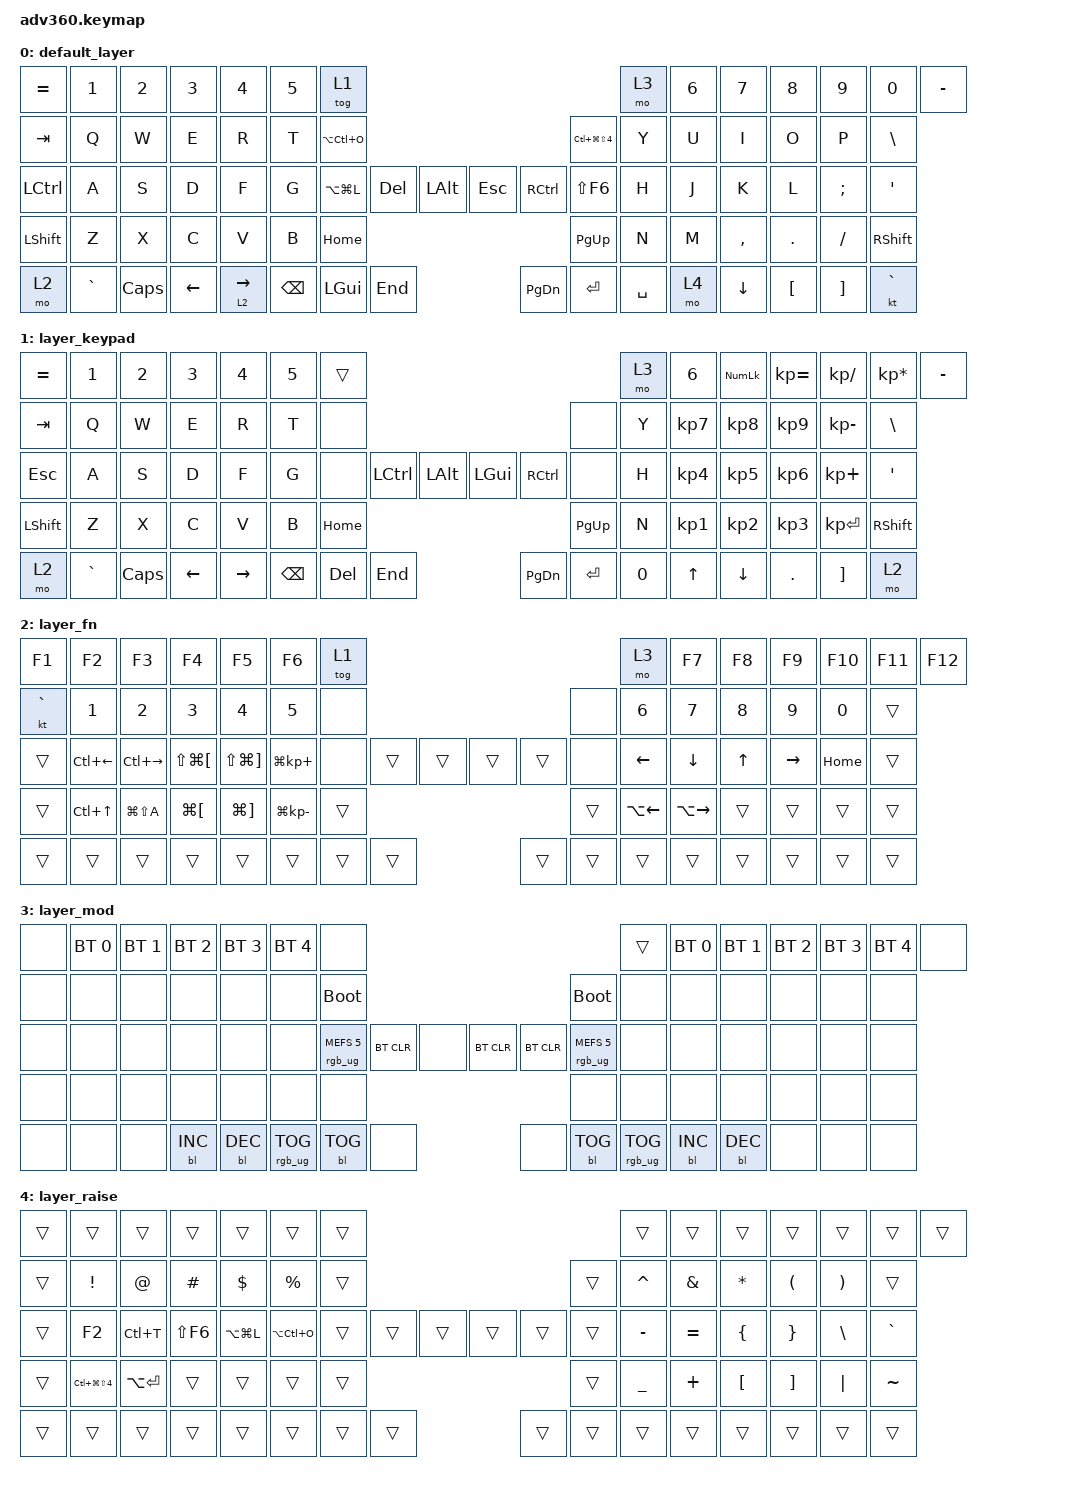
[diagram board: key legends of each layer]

/*
 * Copyright (c) 2020 The ZMK Contributors
 *
 * SPDX-License-Identifier: MIT
 */


/* THIS FILE WAS GENERATED!
 *
 * This file was generated automatically. You may or may not want to
 * edit it directly.
 */

#include <behaviors.dtsi>
#include <dt-bindings/zmk/keys.h>
#include <dt-bindings/zmk/keys.h>
#include <dt-bindings/zmk/bt.h>
#include <dt-bindings/zmk/rgb.h>
#include <dt-bindings/zmk/backlight.h>

/ {
  behaviors {
    #include "macros.dtsi"

    hm: homerow_mods {
        compatible = "zmk,behavior-hold-tap";
        label = "HOMEROW_MODS";
        #binding-cells = <2>;
        tapping-term-ms = <200>;
        quick_tap_ms = <175>;
        flavor = "tap-preferred";
        bindings = <&kp>, <&kp>;
    };
  };

    keymap {
        compatible = "zmk,keymap";


        default_layer {
            bindings = <
 &kp EQUAL     &kp N1    &kp N2    &kp N3       &kp N4  &kp N5                   &tog 1                                                                                     &mo 3  &kp N6  &kp N7     &kp N8            &kp N9             &kp N0        &kp MINUS
   &kp TAB      &kp Q     &kp W     &kp E        &kp R   &kp T            &kp LA(LC(O))                                                                        &kp LC(LG(LS(N4)))   &kp Y   &kp U      &kp I             &kp O              &kp P    &kp BACKSLASH
 &kp LCTRL      &kp A     &kp S     &kp D        &kp F   &kp G            &kp LA(LG(L))       &kp DEL  &kp LALT                    &kp ESC  &kp RIGHT_CONTROL          &kp LS(F6)   &kp H   &kp J      &kp K             &kp L      &kp SEMICOLON          &kp SQT
 &kp LSHFT      &kp Z     &kp X     &kp C        &kp V   &kp B                                         &kp HOME                  &kp PG_UP                                          &kp N   &kp M  &kp COMMA           &kp DOT          &kp SLASH  &kp RIGHT_SHIFT
     &mo 2  &kp GRAVE  &kp CAPS  &kp LEFT  &lt 2 RIGHT                         &kp BSPC  &kp LEFT_GUI   &kp END                  &kp PG_DN          &kp ENTER           &kp SPACE           &mo 4   &kp DOWN  &kp LEFT_BRACKET  &kp RIGHT_BRACKET        &kt GRAVE
            >;
        };

        layer_keypad {
            bindings = <
 &kp EQUAL     &kp N1    &kp N2          &kp N3           &kp N4  &kp N5              &trans                                                              &mo 3  &kp N6  &kp KP_NUM  &kp KP_EQUAL  &kp KP_DIVIDE    &kp KP_MULTIPLY        &kp MINUS
   &kp TAB      &kp Q     &kp W           &kp E            &kp R   &kp T               &none                                                              &none   &kp Y   &kp KP_N7     &kp KP_N8      &kp KP_N9       &kp KP_MINUS         &kp BSLH
   &kp ESC      &kp A     &kp S           &kp D            &kp F   &kp G               &none  &kp LCTRL  &kp LALT                   &kp LGUI  &kp RCTRL   &none   &kp H   &kp KP_N4     &kp KP_N5      &kp KP_N6        &kp KP_PLUS          &kp SQT
 &kp LSHFT      &kp Z     &kp X           &kp C            &kp V   &kp B                                 &kp HOME                  &kp PG_UP                      &kp N   &kp KP_N1     &kp KP_N2      &kp KP_N3       &kp KP_ENTER  &kp RIGHT_SHIFT
     &mo 2  &kp GRAVE  &kp CAPS  &kp LEFT_ARROW  &kp RIGHT_ARROW                    &kp BSPC    &kp DEL   &kp END                  &kp PG_DN  &kp ENTER  &kp N0              &kp UP      &kp DOWN        &kp DOT  &kp RIGHT_BRACKET            &mo 2
            >;
        };

        layer_fn {
            bindings = <
    &kp F1            &kp F2         &kp F3                    &kp F4                     &kp F5            &kp F6            &tog 1                                                   &mo 3        &kp F7         &kp F8  &kp F9    &kp F10   &kp F11  &kp F12
 &kt GRAVE            &kp N1         &kp N2                    &kp N3                     &kp N4            &kp N5             &none                                                   &none        &kp N6         &kp N7  &kp N8     &kp N9    &kp N0   &trans
    &trans      &kp LC(LEFT)  &kp LC(RIGHT)  &kp LS(LG(LEFT_BRACKET))  &kp LS(LG(RIGHT_BRACKET))   &kp LG(KP_PLUS)             &none  &trans  &trans                  &trans  &trans   &none      &kp LEFT       &kp DOWN  &kp UP  &kp RIGHT  &kp HOME   &trans
    &trans  &kp LC(UP_ARROW)  &kp LG(LS(A))      &kp LG(LEFT_BRACKET)      &kp LG(RIGHT_BRACKET)  &kp LG(KP_MINUS)                            &trans                  &trans                  &kp LA(LEFT)  &kp LA(RIGHT)  &trans     &trans    &trans   &trans
    &trans            &trans         &trans                    &trans                     &trans                              &trans  &trans  &trans                  &trans  &trans  &trans                       &trans  &trans     &trans    &trans   &trans
            >;
        };

        layer_mod {
            bindings = <
  &none  &bt BT_SEL 0  &bt BT_SEL 1  &bt BT_SEL 2  &bt BT_SEL 3  &bt BT_SEL 4                             &none                                                                              &trans  &bt BT_SEL 0  &bt BT_SEL 1  &bt BT_SEL 2  &bt BT_SEL 3  &bt BT_SEL 4   &none
  &none         &none         &none         &none         &none         &none                       &bootloader                                                                         &bootloader         &none         &none         &none         &none         &none   &none
  &none         &none         &none         &none         &none         &none            &rgb_ug RGB_MEFS_CMD 5  &bt BT_CLR   &none                  &bt BT_CLR  &bt BT_CLR  &rgb_ug RGB_MEFS_CMD 5         &none         &none         &none         &none         &none   &none
  &none         &none         &none         &none         &none         &none                                                 &none                       &none                                             &none         &none         &none         &none         &none   &none
  &none         &none         &none    &bl BL_INC    &bl BL_DEC                                 &rgb_ug RGB_TOG  &bl BL_TOG   &none                       &none  &bl BL_TOG         &rgb_ug RGB_TOG                  &bl BL_INC    &bl BL_DEC         &none         &none   &none
            >;
        };

        layer_raise {
            bindings = <
 &trans              &trans         &trans      &trans         &trans         &trans            &trans                                                  &trans     &trans     &trans            &trans             &trans    &trans     &trans
 &trans            &kp EXCL         &kp AT    &kp HASH     &kp DOLLAR      &kp PRCNT            &trans                                                  &trans  &kp CARET   &kp AMPS         &kp ASTRK           &kp LPAR  &kp RPAR     &trans
 &trans              &kp F2      &kp LC(T)  &kp LS(F6)  &kp LA(LG(L))  &kp LA(LC(O))            &trans  &trans  &trans                  &trans  &trans  &trans  &kp MINUS  &kp EQUAL          &kp LBRC           &kp RBRC  &kp BSLH  &kp GRAVE
 &trans  &kp LC(LG(LS(N4)))  &kp LA(ENTER)      &trans         &trans         &trans                            &trans                  &trans                  &kp UNDER   &kp PLUS  &kp LEFT_BRACKET  &kp RIGHT_BRACKET  &kp PIPE  &kp TILDE
 &trans              &trans         &trans      &trans         &trans                           &trans  &trans  &trans                  &trans  &trans  &trans                &trans            &trans             &trans    &trans     &trans
            >;
        };

    };
};
